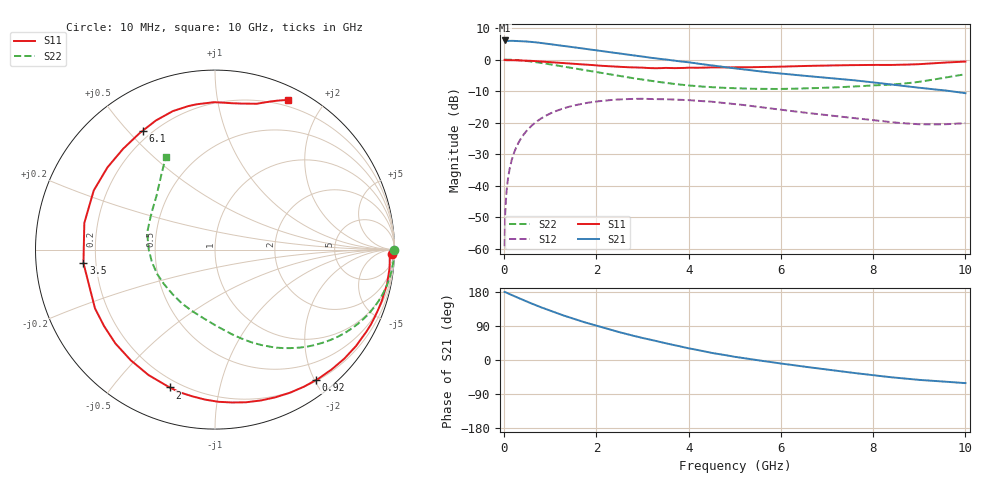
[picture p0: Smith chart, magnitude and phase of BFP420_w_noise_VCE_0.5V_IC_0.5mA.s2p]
! Infineon Technologies  Discrete & RF Semiconductors
! BFP420
! VCE =  0.5 V,  IC =  0.5 mA
! Common Emitter S-Parameters:  Jan 2016
# GHz  S  MA  R  50
!  f  S11  S21  S12  S22
! GHz  MAG  ANG  MAG  ANG  MAG  ANG  MAG  ANG
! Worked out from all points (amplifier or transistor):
!   233 points, 10 MHz to 10 GHz, reference 50 ohm
!   highest |S21| = 6.1 dB at 10 MHz (marker M1)
!   |S21| within 3 dB of that: start of sweep to 1.925 GHz
!   unconditionally stable (mu >= 1): 4.297 GHz to end of sweep
!   at 200 MHz: K = 0.02, MSG = 18.1 dB, |S12| = -30.2 dB
!   at 1.74 GHz: K = 0.36, MSG = 8.7 dB, |S12| = -13.9 dB
!   at 10 GHz: K = 1.49, MAG = 0.6 dB, |S12| = -20.2 dB
!   lowest NFmin = 0.68 dB at 900 MHz
!   S11 on the Smith chart (normalised r, x): 10 MHz: 34, -64; 920 MHz: 0.22, -2.01; 2 GHz: 0.16, -0.71; 3.5 GHz: 0.15, -0.05; 6.1 GHz: 0.17, +0.55; 10 GHz: 0.13, +1.59
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0.01  0.9872 -1.4  2.007 179.4  0.0011 75.0  0.9972 -0.2
0.015  0.9837 -1.3  1.984 179.4  0.0021 86.3  0.9972 -0.5
0.02  0.9803 -1.1  1.96 179.4  0.0032 90.1  0.9973 -0.7
0.03  0.9784 -1.7  1.963 178.7  0.0047 89.1  0.9972 -1.1
0.055  0.9752 -3.2  1.97 177.1  0.0085 87.9  0.9971 -2.2
0.11  0.9779 -6.3  1.979 174.4  0.0171 85.7  0.9951 -4.4
0.18  0.9772 -10.2  1.98 170.6  0.028 82.9  0.9904 -7.1
0.45  0.9635 -25.8  1.941 156.5  0.0687 72.3  0.9563 -17.3
0.7  0.9425 -40.1  1.871 143.8  0.1036 62.5  0.9069 -26.1
0.92  0.9187 -52.4  1.789 133.5  0.1305 54.2  0.8572 -33.0
1.28  0.8799 -72.0  1.649 117.8  0.1677 41.9  0.7754 -43.0
1.68  0.8391 -92.8  1.505 102.0  0.1986 29.5  0.691 -52.6
2  0.8087 -108.2  1.395 90.4  0.2162 20.3  0.6313 -59.4
2.6  0.7625 -136.7  1.22 70.1  0.2354 4.4  0.533 -71.3
3.4  0.731 -170.1  1.02 47.0  0.2357 -13.6  0.4366 -86.4
3.5  0.7368 -174.1  1.003 43.9  0.2357 -15.8  0.4269 -88.6
4  0.743 168.5  0.905 30.8  0.2274 -25.1  0.3883 -99.3
5.1  0.7534 140.6  0.71 6.7  0.1938 -42.1  0.3487 -124.2
6.1  0.7751 121.3  0.59 -10.8  0.1569 -51.6  0.3431 -147.7
6.8  0.7987 109.9  0.529 -22.1  0.1364 -54.5  0.3533 -164.6
8.4  0.8211 83.3  0.401 -45.6  0.1016 -53.5  0.4016 153.6
10  0.9282 64.0  0.293 -61.0  0.098 -38.9  0.5854 117.8
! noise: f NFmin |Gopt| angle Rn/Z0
0.9  0.68  0.78  35  0.65
1.8  1.42  0.6  75  0.5
2.4  1.57  0.58  98  0.37
3  2.1  0.58  128  0.24
4  2.49  0.57  177  0.09
